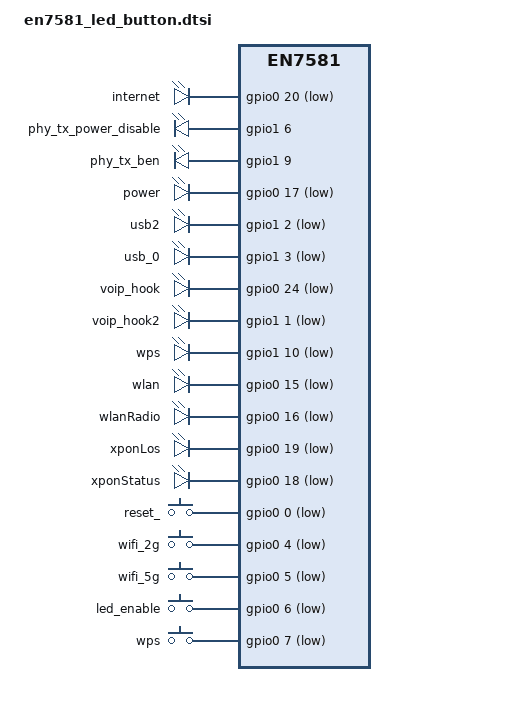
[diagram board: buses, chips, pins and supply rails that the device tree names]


#include <dt-bindings/interrupt-controller/irq.h>
#include <dt-bindings/interrupt-controller/arm-gic.h>

/ {
	compatible = "econet,en7581", "airoha,en7581";
	#address-cells = <2>;
	#size-cells = <2>;

	leds {
		compatible = "gpio-leds";
		internet {
			label = "internet";
			gpios = <&gpio0 20 GPIO_ACTIVE_LOW>;
			linux,default-trigger = "timer";
		};
		phy_tx_power_disable {
			label = "phy_tx_power_disable";
			gpios = <&gpio1 6 GPIO_ACTIVE_HIGH>;
			linux,default-trigger = "dsldev";
			default-state = "on";
		};
		phy_tx_ben {
			label = "phy_tx_ben";
			gpios = <&gpio1 9 GPIO_ACTIVE_HIGH>;
			linux,default-trigger = "timer";
			default-state = "on";
		};
		power {
			label = "power";
			gpios = <&gpio0 17 GPIO_ACTIVE_LOW>;
			linux,default-trigger = "timer";
		};
		usb2 {
			label = "usb2";
			gpios = <&gpio1 2 GPIO_ACTIVE_LOW>;
			linux,default-trigger = "timer";
		};
		usb_0 {
			label = "usb_0";
			gpios = <&gpio1 3 GPIO_ACTIVE_LOW>;
			linux,default-trigger = "timer";
		};
		voip_hook {
			label = "voip_hook";
			gpios = <&gpio0 24 GPIO_ACTIVE_LOW>;
			linux,default-trigger = "timer";
		};
		voip_hook2 {
			label = "voip_hook2";
			gpios = <&gpio1 1 GPIO_ACTIVE_LOW>;
			linux,default-trigger = "timer";
		};
		wps {
			label = "wps";
			gpios = <&gpio1 10 GPIO_ACTIVE_LOW>;
			linux,default-trigger = "timer";
		};
		wlan_2g {
			label = "wlan";
			gpios = <&gpio0 15 GPIO_ACTIVE_LOW>;
			linux,default-trigger = "timer";
		};
		wlan_5g {
			label = "wlanRadio";
			gpios = <&gpio0 16 GPIO_ACTIVE_LOW>;
			linux,default-trigger = "timer";
		};
		xponLos {
			label = "xponLos";
			gpios = <&gpio0 19 GPIO_ACTIVE_LOW>;
			linux,default-trigger = "timer";
		};
		xponStatus {
			label = "xponStatus";
			gpios = <&gpio0 18 GPIO_ACTIVE_LOW>;
			linux,default-trigger = "timer";
		};
	};
	
	gpio-keys-polled {
		compatible = "gpio-keys-polled";
		poll-interval = <100>;
		
		reset_ {
			label = "reset_";
			linux,code = <BTN_0>;
			gpios = <&gpio0 0 GPIO_ACTIVE_LOW>;
		};
		
		wifi_2g {
			label = "wifi_2g";
			linux,code = <BTN_2>;
			gpios = <&gpio0 4 GPIO_ACTIVE_LOW>;
		};
		
		wifi_5g {
			label = "wifi_5g";
			linux,code = <BTN_3>;
			gpios = <&gpio0 5 GPIO_ACTIVE_LOW>;
		};
		
		led_enable {
			label = "led_enable";
			linux,code = <BTN_1>;
			gpios = <&gpio0 6 GPIO_ACTIVE_LOW>;
		};
		
		wps {
			label = "wps";
			linux,code = <KEY_WPS_BUTTON>;
			gpios = <&gpio0 7 GPIO_ACTIVE_LOW>;
		};
	};
};
